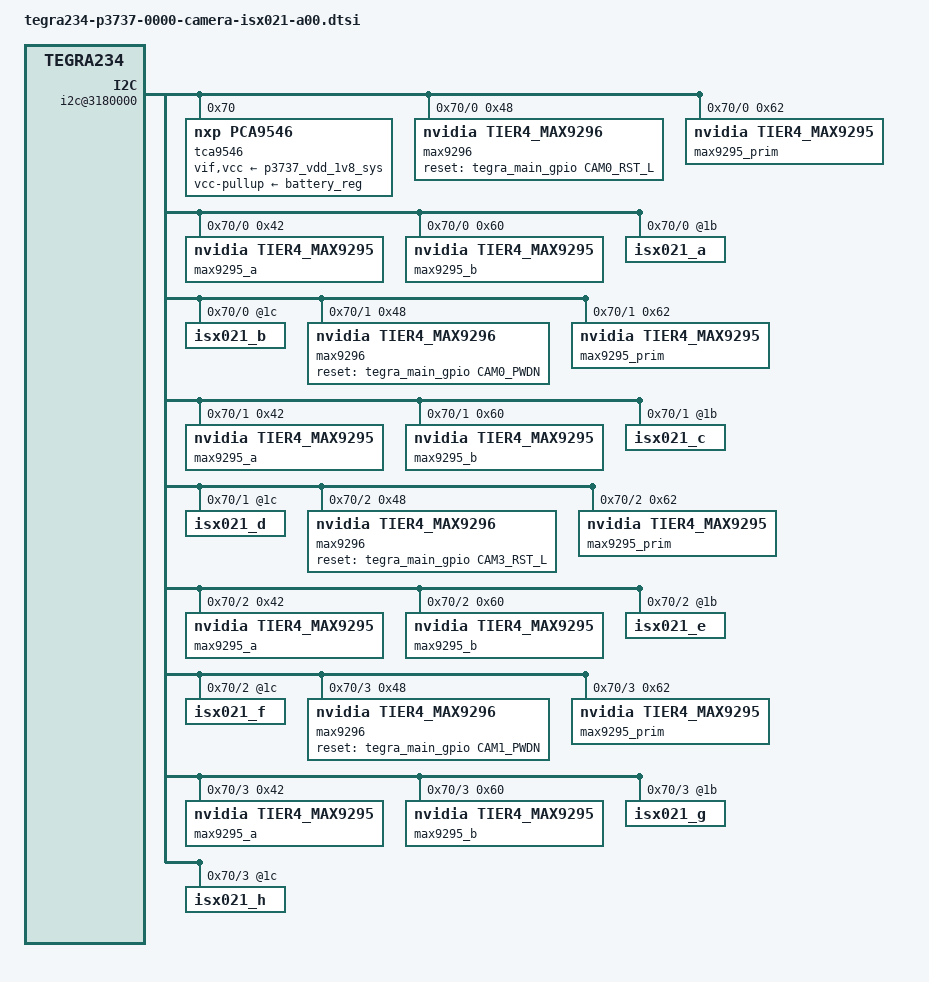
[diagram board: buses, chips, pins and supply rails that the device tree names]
/*
 * Copyright (c) 2018-2019, NVIDIA CORPORATION.  All rights reserved.
 * 
 * This program is free software; you can redistribute it and/or modify
 * it under the terms of the GNU General Public License as published by
 * the Free Software Foundation; either version 2 of the License, or
 * (at your option) any later version.
 *
 * This program is distributed in the hope that it will be useful, but WITHOUT
 * ANY WARRANTY; without even the implied warranty of MERCHANTABILITY or
 * FITNESS FOR A PARTICULAR PURPOSE.  See the GNU General Public License for
 * more details.
 *
 * You should have received a copy of the GNU General Public License
 * along with this program.  If not, see <http://www.gnu.org/licenses/>.
 */
#include <t234-common-modules/tegra234-camera-isx021-a00.dtsi>
#include "dt-bindings/clock/tegra234-clock.h"

#define CAM0_RST_L	TEGRA234_MAIN_GPIO(H, 3)
#define CAM0_PWDN	TEGRA234_MAIN_GPIO(H, 6)
#define CAM3_RST_L	TEGRA234_MAIN_GPIO(AC, 2)
//#define CAM1_PWDN	TEGRA234_MAIN_GPIO(T, 5)
#define CAMERA_I2C_MUX_BUS(x) (0x1E + x)

/* camera control gpio definitions */

/ {
	i2c@3180000 {
		tca9546@70 {
			compatible = "nxp,pca9546";
			reg = <0x70>;
			#address-cells = <1>;
			#size-cells = <0>;
			skip_mux_detect = "yes";
			vif-supply = <&p3737_vdd_1v8_sys>;
			vcc-supply = <&p3737_vdd_1v8_sys>;
			vcc-pullup-supply = <&battery_reg>;
			vcc_lp = "vcc";
			force_bus_start = <CAMERA_I2C_MUX_BUS(0)>;

			i2c@0 {
				reg = <0>;
				i2c-mux,deselect-on-exit;
				#address-cells = <1>;
				#size-cells = <0>;
				max9296@48 {
					compatible = "nvidia,tier4_max9296";
					reg = <0x48>;
					csi-mode = "2x4";
					max-src = <2>;
					reset-gpios = <&tegra_main_gpio CAM0_RST_L GPIO_ACTIVE_HIGH>;
				};
				max9295_prim@62 {
					compatible = "nvidia,tier4_max9295";
					reg = <0x62>;
					is-prim-ser;
				};
        max9295_a@42 {
					compatible = "nvidia,tier4_max9295";
					reg = <0x42>;
					nvidia,gmsl-dser-device = <&max9296_dser>;
				};
				max9295_b@60 {
          compatible = "nvidia,tier4_max9295";
          reg = <0x60>;
          nvidia,gmsl-dser-device = <&max9296_dser>;
        };
				isx021_a@1b {
					def-addr = <0x1a>;
					/* Define any required hw resources needed by driver */
					/* ie. clocks, io pins, power sources */
					clocks = <&bpmp_clks TEGRA234_CLK_EXTPERIPH1>,
							<&bpmp_clks TEGRA234_CLK_EXTPERIPH1>;
					clock-names = "extperiph1", "pllp_grtba";
					mclk = "extperiph1";
					nvidia,gmsl-ser-device = <&max9295_ser_a_0>;
					nvidia,gmsl-dser-device = <&max9296_dser>;
				};
				isx021_b@1c {
					def-addr = <0x1a>;
					/* Define any required hw resources needed by driver */
					/* ie. clocks, io pins, power sources */
					clocks = <&bpmp_clks TEGRA234_CLK_EXTPERIPH1>,
							<&bpmp_clks TEGRA234_CLK_EXTPERIPH1>;
					clock-names = "extperiph1", "pllp_grtba";
					mclk = "extperiph1";
					nvidia,gmsl-ser-device = <&max9295_ser_a_1>;
					nvidia,gmsl-dser-device = <&max9296_dser>;
				};
			};
      i2c@1 {
        reg = <1>;
        i2c-mux,deselect-on-exit;
        #address-cells = <1>;
        #size-cells = <0>;
        
        max9296@48 {
          compatible = "nvidia,tier4_max9296";
          reg = <0x48>;
          csi-mode = "2x4";
          max-src = <2>;
          reset-gpios = <&tegra_main_gpio CAM0_PWDN GPIO_ACTIVE_HIGH>;
        };
        max9295_prim@62 {
          compatible = "nvidia,tier4_max9295";
          reg = <0x62>;
          is-prim-ser;
        };
        max9295_a@42 {
          compatible = "nvidia,tier4_max9295";
          reg = <0x42>;
          nvidia,gmsl-dser-device = <&max9296_dser_b>;
        };
        max9295_b@60 {
          compatible = "nvidia,tier4_max9295";
          reg = <0x60>;
          nvidia,gmsl-dser-device = <&max9296_dser_b>;
        };
        isx021_c@1b {
          def-addr = <0x1a>;
          /* Define any required hw resources needed by driver */
          /* ie. clocks, io pins, power sources */
          clocks = <&bpmp_clks TEGRA234_CLK_EXTPERIPH1>,
          <&bpmp_clks TEGRA234_CLK_EXTPERIPH1>;
          clock-names = "extperiph1", "pllp_grtba";
          mclk = "extperiph1";
          nvidia,gmsl-ser-device = <&max9295_ser_b_0>;
          nvidia,gmsl-dser-device = <&max9296_dser_b>;
        };
        isx021_d@1c {
          def-addr = <0x1a>;
          /* Define any required hw resources needed by driver */
          /* ie. clocks, io pins, power sources */
          clocks = <&bpmp_clks TEGRA234_CLK_EXTPERIPH1>,
          <&bpmp_clks TEGRA234_CLK_EXTPERIPH1>;
          clock-names = "extperiph1", "pllp_grtba";
          mclk = "extperiph1";
          nvidia,gmsl-ser-device = <&max9295_ser_b_1>;
          nvidia,gmsl-dser-device = <&max9296_dser_b>;
        };
      };
      i2c@2 {
        reg = <2>;
        i2c-mux,deselect-on-exit;
        #address-cells = <1>;
        #size-cells = <0>;
        max9296@48 {
          compatible = "nvidia,tier4_max9296";
          reg = <0x48>;
          csi-mode = "2x4";
          max-src = <2>;
          reset-gpios = <&tegra_main_gpio CAM3_RST_L GPIO_ACTIVE_HIGH>;
        };
        max9295_prim@62 {
          compatible = "nvidia,tier4_max9295";
          reg = <0x62>;
          is-prim-ser;
        };
        max9295_a@42 {
          compatible = "nvidia,tier4_max9295";
          reg = <0x42>;
          nvidia,gmsl-dser-device = <&max9296_dser_c>;
        };
        max9295_b@60 {
          compatible = "nvidia,tier4_max9295";
          reg = <0x60>;
          nvidia,gmsl-dser-device = <&max9296_dser_c>;
        };
        isx021_e@1b {
          def-addr = <0x1a>;
          /* Define any required hw resources needed by driver */
          /* ie. clocks, io pins, power sources */
          clocks = <&bpmp_clks TEGRA234_CLK_EXTPERIPH1>,
          <&bpmp_clks TEGRA234_CLK_EXTPERIPH1>;
          clock-names = "extperiph1", "pllp_grtba";
          mclk = "extperiph1";
          nvidia,gmsl-ser-device = <&max9295_ser_c_0>;
          nvidia,gmsl-dser-device = <&max9296_dser_c>;
        };
        isx021_f@1c {
          def-addr = <0x1a>;
          /* Define any required hw resources needed by driver */
          /* ie. clocks, io pins, power sources */
          clocks = <&bpmp_clks TEGRA234_CLK_EXTPERIPH1>,
          <&bpmp_clks TEGRA234_CLK_EXTPERIPH1>;
          clock-names = "extperiph1", "pllp_grtba";
          mclk = "extperiph1";
          nvidia,gmsl-ser-device = <&max9295_ser_c_1>;
          nvidia,gmsl-dser-device = <&max9296_dser_c>;
        };
      };
      i2c@3 {
        reg = <3>;
        i2c-mux,deselect-on-exit;
        #address-cells = <1>;
        #size-cells = <0>;
        max9296@48 {
          compatible = "nvidia,tier4_max9296";
          reg = <0x48>;
          csi-mode = "2x4";
          max-src = <2>;
          reset-gpios = <&tegra_main_gpio CAM1_PWDN GPIO_ACTIVE_HIGH>;
        };
        max9295_prim@62 {
          compatible = "nvidia,tier4_max9295";
          reg = <0x62>;
          is-prim-ser;
        };
        max9295_a@42 {
          compatible = "nvidia,tier4_max9295";
          reg = <0x42>;
          nvidia,gmsl-dser-device = <&max9296_dser_d>;
        };
        max9295_b@60 {
          compatible = "nvidia,tier4_max9295";
          reg = <0x60>;
          nvidia,gmsl-dser-device = <&max9296_dser_d>;
        };
        isx021_g@1b {
          def-addr = <0x1a>;
          /* Define any required hw resources needed by driver */
          /* ie. clocks, io pins, power sources */
          clocks = <&bpmp_clks TEGRA234_CLK_EXTPERIPH1>,
          <&bpmp_clks TEGRA234_CLK_EXTPERIPH1>;
          clock-names = "extperiph1", "pllp_grtba";
          mclk = "extperiph1";
          nvidia,gmsl-ser-device = <&max9295_ser_d_0>;
          nvidia,gmsl-dser-device = <&max9296_dser_d>;
        };
        isx021_h@1c {
          def-addr = <0x1a>;
          /* Define any required hw resources needed by driver */
          /* ie. clocks, io pins, power sources */
          clocks = <&bpmp_clks TEGRA234_CLK_EXTPERIPH1>,
          <&bpmp_clks TEGRA234_CLK_EXTPERIPH1>;
          clock-names = "extperiph1", "pllp_grtba";
          mclk = "extperiph1";
          nvidia,gmsl-ser-device = <&max9295_ser_d_1>;
          nvidia,gmsl-dser-device = <&max9296_dser_d>;
        };
      };
    };
  };
};
